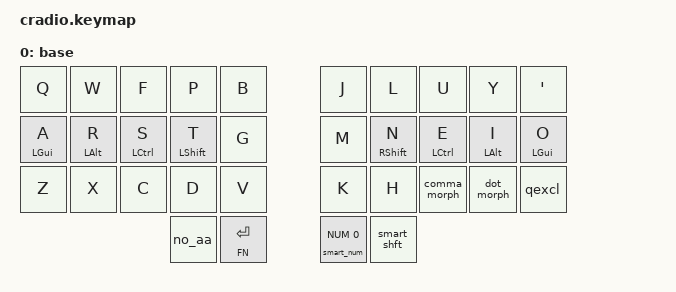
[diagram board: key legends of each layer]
// Copyright (c) 2022 The ZMK Contributors
// SPDX-License-Identifier: MIT

#include <behaviors.dtsi>
#include <dt-bindings/zmk/keys.h>

#include <dt-bindings/zmk/bt.h>
#define _BT_SEL_KEYS_ &bt BT_SEL 0 &bt BT_SEL 1 &bt BT_SEL 2 &bt BT_SEL 3 &bt BT_CLR

#include "../zmk-nodefree-config/helper.h"
#include "../zmk-nodefree-config/keypos_34keys.h"
#include "../zmk-nodefree-config/norwegian.dtsi"

#define DEF 0

#include "combos.dtsi"  // requires layer aliases
#include "mouse.dtsi"

#define ___ &trans


/* Global settings */

#define QUICK_TAP_MS 175

&sk {  // sticky-key config
    release-after-ms = <900>;  // release after 0.6s
    quick-release;             // no double capitalization when rolling keys
};

&sl {  // sticky-layer config
    ignore-modifiers;          // allow chording sticky mods & layers
};

&lt {  // layer-tap config
    flavor = "balanced";
    tapping-term-ms = <200>;
    quick-tap-ms = <QUICK_TAP_MS>;
};

/* Homerow mods */

#define KEYS_L LT0 LT1 LT2 LT3 LT4 LM0 LM1 LM2 LM3 LM4 LB0 LB1 LB2 LB3 LB4  // left hand
#define KEYS_R RT0 RT1 RT2 RT3 RT4 RM0 RM1 RM2 RM3 RM4 RB0 RB1 RB2 RB3 RB4  // right hand
#define THUMBS  LH1 LH0 RH0 RH1                                             // thumbs


#define MAKE_HRM(NAME, HOLD, TAP, TRIGGER_POS) \
    ZMK_BEHAVIOR(NAME, hold_tap, \
        flavor = "balanced"; \
        tapping-term-ms = <280>; \
        quick-tap-ms = <QUICK_TAP_MS>; \
        require-prior-idle-ms = <150>; \
        bindings = <HOLD>, <TAP>; \
        hold-trigger-key-positions = <TRIGGER_POS>; \
        hold-trigger-on-release; \
    )
MAKE_HRM(hml, &kp, &kp, KEYS_R THUMBS)  // left-hand HRMs
MAKE_HRM(hmr, &kp, &kp, KEYS_L THUMBS)  // right-hand HRMs

MAKE_HRM(hml_repeat, &kp, &key_repeat, KEYS_R THUMBS)  // used for HRM-combo
MAKE_HRM(hmr_lpar_lt, &kp, &lpar_lt, KEYS_L THUMBS)    // "    "   "   "
MAKE_HRM(hmr_rpar_gt, &kp, &rpar_gt, KEYS_L THUMBS)    // "    "   "   "

/* Nav cluster */

// long-tap action on hold, short-tap action on all interrupts
#define MT_CORE \
    flavor = "tap-preferred"; \
    tapping-term-ms = <220>; \
    quick-tap-ms = <220>; \
    hold-trigger-key-positions = <0>;

&mt { MT_CORE };
ZMK_BEHAVIOR(mt_home, hold_tap, bindings = <&masked_home>, <&kp>; MT_CORE)
ZMK_BEHAVIOR(mt_end,  hold_tap,  bindings = <&masked_end>, <&kp>; MT_CORE)

#define NAV_LEFT  &mt_home 0   LEFT    // tap: left  | long-tap: beginning of line
#define NAV_RIGHT &mt_end 0    RIGHT   // tap: right | long-tap: end       of line
#define NAV_UP    &mt LC(HOME) UP      // tap: up    | long-tap: beginning of document
#define NAV_DOWN  &mt LC(END)  DOWN    // tap: down  | long-tap: end       of document
#define NAV_BSPC  &mt LC(BSPC) BSPC    // tap: bspc  | long-tap: delete word backward
#define NAV_DEL   &mt LC(DEL)  DEL     // tap: del   | long-tap: delete word forward

// mask CTRL when holding left/right to avoid accidental jumps to beginning/end of document
#define MASK_MODS(NAME, MODS, BINDING) \
    ZMK_BEHAVIOR(NAME, mod_morph, \
        bindings = <BINDING>, <BINDING>; \
        mods = <MODS>; \
    )
MASK_MODS(masked_home, (MOD_LCTL), &kp HOME)
MASK_MODS(masked_end,  (MOD_LCTL), &kp END)

/* Caps-word, num-word and smart-mouse */

// tap: sticky-shift | shift + tap/ double-tap: caps-word | hold: shift
ZMK_BEHAVIOR(smart_shft, mod_morph,
    bindings = <&sk LSHFT>, <&caps_word>;
    mods = <(MOD_LSFT)>;
)
&caps_word {  // mods deactivate caps-word, requires PR #1451
    /delete-property/ ignore-modifiers;
};

// tap: num-word | double-tap: sticky num-layer | hold: num-layer
#define SMART_NUM &smart_num NUM 0
ZMK_BEHAVIOR(smart_num, hold_tap,
    flavor = "balanced";
    tapping-term-ms = <200>;
    quick-tap-ms = <QUICK_TAP_MS>;
    bindings = <&mo>, <&num_dance>;
)
ZMK_BEHAVIOR(num_dance, tap_dance,
    tapping-term-ms = <200>;
    bindings = <&num_word>, <&sl NUM>;  // reverse this for sticky-num on single tap
)
&num_word {  // num-word, requires PR #1451
    layers = <NUM>;
    continue-list = <BSPC DEL DOT COMMA PLUS MINUS STAR FSLH EQUAL>;
};

// smart-mouse, requires PR #1366
ZMK_BEHAVIOR(smart_mouse, tri_state,
    bindings = <&tog MOUSE>, <&none>, <&tog MOUSE>;
    ignored-key-positions = <LT1 LT3 RT1 RT2 RT3 RM1 RM2 RM3 RH0 RH1>;
    ignored-layers = <MOUSE>;
)

/* Custom behaviors */

// Alt+Tab swapper, requires PR #1366
ZMK_BEHAVIOR(swapper, tri_state,
    bindings = <&kt LALT>, <&kp TAB>, <&kt LALT>;
    ignored-key-positions = <LT2>;
)

// Sticky layer + sticky shift (workaround for issue #1421)
ZMK_BEHAVIOR(sls, sticky_key,
    release-after-ms = <1000>;
    bindings = <&uc_shift>;
    ignore-modifiers;
)
ZMK_BEHAVIOR(uc_shift, macro,
    wait-ms = <0>;
    tap-ms = <1>;
    bindings = <&macro_press &mo UC &kp LSHFT>
             , <&macro_pause_for_release>
             , <&macro_release &mo UC &kp LSHFT>;
)

// tap: comma | shift + tap: semicolon | ctrl + shift + tap: <
ZMK_BEHAVIOR(comma_morph, mod_morph,
    mods = <(MOD_LSFT|MOD_RSFT)>;
    bindings = <&kp COMMA>, <&comma_inner_morph>;
)
ZMK_BEHAVIOR(comma_inner_morph, mod_morph,
    bindings = <&kp SEMICOLON>, <&kp LESS_THAN>;
    mods = <(MOD_LCTL|MOD_RCTL)>;
)

// tap: dot | shift + tap: colon | ctrl + shift + tap: >
ZMK_BEHAVIOR(dot_morph, mod_morph,
    bindings = <&kp DOT>, <&dot_inner_morph>;
    mods = <(MOD_LSFT|MOD_RSFT)>;
)
ZMK_BEHAVIOR(dot_inner_morph, mod_morph,
    bindings = <&kp COLON>, <&kp GREATER_THAN>;
    mods = <(MOD_LCTL|MOD_RCTL)>;
)

// tap: qmark | shift + tap: excl
ZMK_BEHAVIOR(qexcl, mod_morph,
    bindings = <&kp QMARK>, <&kp EXCL>;
    mods = <(MOD_LSFT|MOD_RSFT)>;
)

// tap: space | shift + tap: dot -> space -> sticky shift | hold: activate layer
ZMK_BEHAVIOR(lt_spc, hold_tap,
    flavor = "balanced";
    tapping-term-ms = <200>;
    quick-tap-ms = <QUICK_TAP_MS>;
    bindings = <&mo>, <&spc_morph>;
)
ZMK_BEHAVIOR(spc_morph, mod_morph,
    bindings = <&kp SPACE>, <&dot_spc>;
    mods = <(MOD_LSFT|MOD_RSFT)>;
)
ZMK_BEHAVIOR(dot_spc, macro,
    wait-ms = <0>;
    tap-ms = <5>;
    bindings = <&kp DOT &kp SPACE &sk LSHFT>;
)

// tap: backspace | lshft + tap: delete | rshft + tap: shift-delete
ZMK_BEHAVIOR(bs_del, mod_morph,
    bindings = <&kp BSPC>, <&kp DEL>;
    mods = <(MOD_LSFT|MOD_RSFT)>;
    keep-mods = <MOD_RSFT>;
)

// tap: left-parenthesis | shft + tap: less-than
ZMK_BEHAVIOR(lpar_lt, mod_morph,
    bindings = <&kp LPAR>, <&kp LT>;
    mods = <(MOD_LSFT|MOD_RSFT)>;
)

// tap: right-parenthesis | shft + tap: greater-than
ZMK_BEHAVIOR(rpar_gt, mod_morph,
    bindings = <&kp RPAR>, <&kp GT>;
    mods = <(MOD_LSFT|MOD_RSFT)>;
)

// tap: copy | double-tap: cut
ZMK_BEHAVIOR(copy_cut, tap_dance,
    tapping-term-ms = <200>;
    bindings = <&kp LC(INS)>, <&kp LC(X)>;
)

// Windows sleep key
ZMK_BEHAVIOR(win_sleep, macro,
    wait-ms = <500>;
    tap-ms = <50>;
    bindings = <&kp LG(X) &kp U &kp S>;
)

// misc aliases
#define CANCEL      &kp K_CANCEL             // cancel caps-word, num-word and smart-mouse
#define DSK_PREV    &hmr RSHFT LG(LC(LEFT))  // previous desktop
#define DSK_NEXT    &hmr LALT LG(LC(RIGHT))  // next     desktop
#define PIN_WIN     &kp LG(LC(LS(Q)))        // pin window across desktops
#define PIN_APP     &kp LG(LC(LS(A)))        // pin application across desktops
#define DSK_MGR     &kp LA(GRAVE)            // desktop manager
#define VOL_DOWN    &hmr LCTRL C_VOL_DN


/* Keymap */

ZMK_CONDITIONAL_LAYER(FN NUM, SYS)  // FN + NUM --> SYS

ZMK_LAYER(base,
//╭─────────────┬─────────────┬─────────────┬─────────────┬─────────────╮  ╭─────────────┬─────────────┬─────────────┬─────────────┬─────────────╮
    &kp Q         &kp W         &kp F         &kp P         &kp B            &kp J         &kp L         &kp U         &kp Y         &kp SQT
//├─────────────┼─────────────┼─────────────┼─────────────┼─────────────┤  ├─────────────┼─────────────┼─────────────┼─────────────┼─────────────┤
    &hml LGUI A   &hml LALT R   &hml LCTRL S  &hml LSHFT T  &kp G            &kp M         &hmr RSHFT N  &hmr LCTRL E  &hmr LALT I   &hmr LGUI O
//├─────────────┼─────────────┼─────────────┼─────────────┼─────────────┤  ├─────────────┼─────────────┼─────────────┼─────────────┼─────────────┤
    &kp Z         &kp X         &kp C         &kp D         &kp V            &kp K         &kp H         &comma_morph  &dot_morph    &qexcl
//╰─────────────┼─────────────┴─────────────┼─────────────┼─────────────┤  ├─────────────┼─────────────┼─────────────┴───────────────────────────╯
                                              &no_aa        &lt FN RET       SMART_NUM     &smart_shft
//                                          ╰─────────────┴─────────────╯  ╰─────────────┴─────────────╯
)
